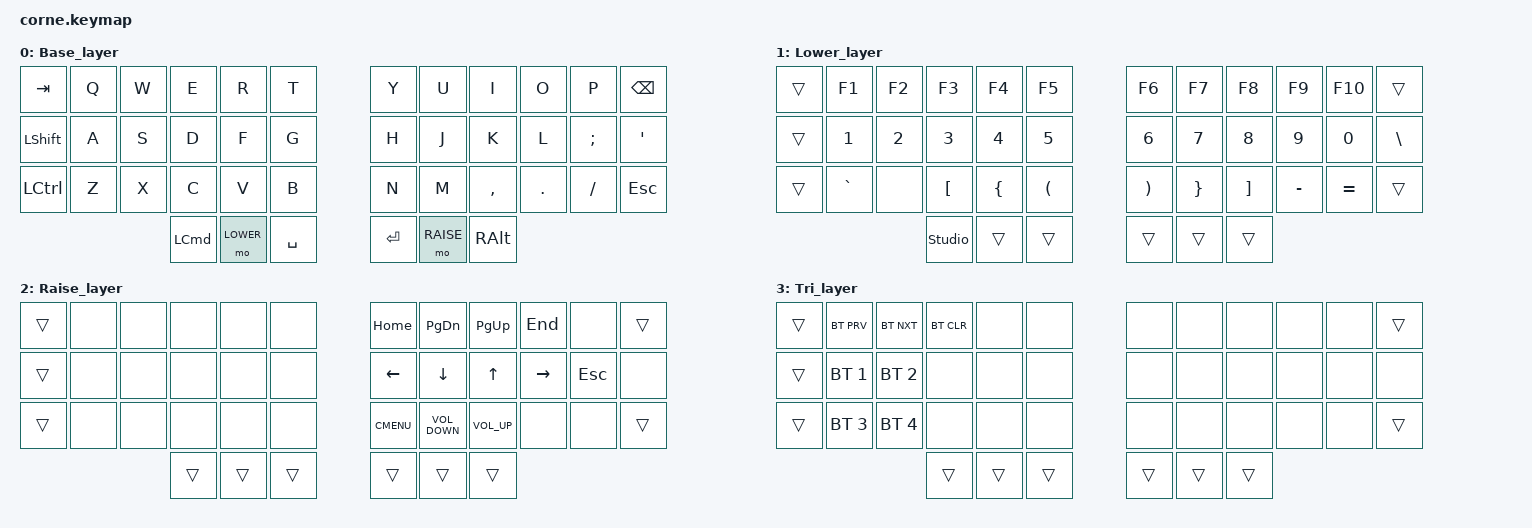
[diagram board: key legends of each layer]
/*
 * Copyright (c) 2020 The ZMK Contributors
 *
 * SPDX-License-Identifier: MIT
 */

#include <behaviors.dtsi>
#include <dt-bindings/zmk/keys.h>
#include <dt-bindings/zmk/bt.h>

#define LEFT_POSITIONS  0 1 2 3 4 5 12 13 14 15 16 17 24 25 26 27 28 29 36 37 38
#define RIGHT_POSITIONS 6 7 8 9 10 11 18 19 20 21 22 23 30 31 32 33 34 35 39 40 41
/* Key Positions
╭────────────────────────╮ ╭────────────────────────╮
│  0   1   2   3   4   5 │ │  6   7   8   9  10  11 │
│ 12  13  14  15  16  17 │ │ 18  19  20  21  22  23 │
│ 24  25  26  27  28  29 │ │ 30  31  32  33  34  35 │
╰───────────╮ 36  37  38 │ │ 39  40  41 ╭───────────╯
            ╰────────────╯ ╰────────────╯
*/

#define BASE 0
#define LOWER 1
#define RAISE 2

/ {
    conditional_layers {
        compatible = "zmk,conditional-layers";

        tri_layer {
            if-layers = <1 2>;
            then-layer = <3>;
        };
    };

    keymap {
        compatible = "zmk,keymap";

        Base_layer {
            bindings = <
&kp TAB           &kp Q  &kp W  &kp E             &kp R      &kp T        &kp Y      &kp U      &kp I          &kp O       &kp P          &kp BACKSPACE
&kp LEFT_SHIFT    &kp A  &kp S  &kp D             &kp F      &kp G        &kp H      &kp J      &kp K          &kp L       &kp SEMICOLON  &kp SINGLE_QUOTE
&kp LEFT_CONTROL  &kp Z  &kp X  &kp C             &kp V      &kp B        &kp N      &kp M      &kp COMMA      &kp PERIOD  &kp SLASH      &kp ESCAPE
                                &kp LEFT_COMMAND  &mo LOWER  &kp SPACE    &kp ENTER  &mo RAISE  &kp RIGHT_ALT
            >;
        };

        Lower_layer {
            bindings = <
&trans  &kp F1        &kp F2        &kp F3            &kp F4          &kp F5                  &kp F6                 &kp F7           &kp F8             &kp F9        &kp F10       &trans
&trans  &kp NUMBER_1  &kp NUMBER_2  &kp NUMBER_3      &kp NUMBER_4    &kp NUMBER_5            &kp NUMBER_6           &kp NUMBER_7     &kp NUMBER_8       &kp NUMBER_9  &kp NUMBER_0  &kp BACKSLASH
&trans  &kp GRAVE     &none         &kp LEFT_BRACKET  &kp LEFT_BRACE  &kp LEFT_PARENTHESIS    &kp RIGHT_PARENTHESIS  &kp RIGHT_BRACE  &kp RIGHT_BRACKET  &kp MINUS     &kp EQUAL     &trans
                                    &studio_unlock    &trans          &trans                  &trans                 &trans           &trans
            >;
        };

        Raise_layer {
            bindings = <
&trans  &none  &none  &none   &none   &none     &kp HOME     &kp PG_DN          &kp PG_UP        &kp END    &none       &trans
&trans  &none  &none  &none   &none   &none     &kp LEFT     &kp DOWN           &kp UP           &kp RIGHT  &kp ESCAPE  &none
&trans  &none  &none  &none   &none   &none     &kp K_CMENU  &kp C_VOLUME_DOWN  &kp C_VOLUME_UP  &none      &none       &trans
                      &trans  &trans  &trans    &trans       &trans             &trans
            >;
        };

        Tri_layer {
            bindings = <
&trans  &bt BT_PRV    &bt BT_NXT    &bt BT_CLR  &none   &none     &none   &none   &none   &none  &none  &trans
&trans  &bt BT_SEL 1  &bt BT_SEL 2  &none       &none   &none     &none   &none   &none   &none  &none  &none
&trans  &bt BT_SEL 3  &bt BT_SEL 4  &none       &none   &none     &none   &none   &none   &none  &none  &trans
                                    &trans      &trans  &trans    &trans  &trans  &trans
            >;
        };
    };
};
